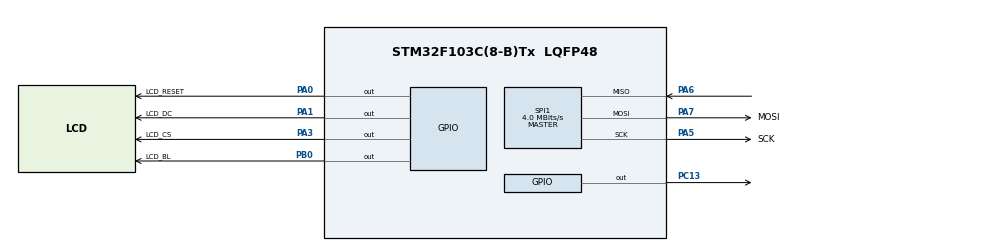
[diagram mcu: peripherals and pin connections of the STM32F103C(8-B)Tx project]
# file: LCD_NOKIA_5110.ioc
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Mcu.Family=STM32F1
Mcu.Name=STM32F103C(8-B)Tx
Mcu.Package=LQFP48
NVIC.PriorityGroup=NVIC_PRIORITYGROUP_4
PA0-WKUP.GPIO_Label=LCD_RESET
PA0-WKUP.Signal=GPIO_Output
PA1.GPIO_Label=LCD_DC
PA1.Signal=GPIO_Output
PA13.Mode=Serial_Wire
PA13.Signal=SYS_JTMS-SWDIO
PA14.Mode=Serial_Wire
PA14.Signal=SYS_JTCK-SWCLK
PA3.GPIO_Label=LCD_CS
PA3.Signal=GPIO_Output
PA5.GPIO_Label=SCK
PA5.Mode=Full_Duplex_Master
PA5.Signal=SPI1_SCK
PA6.Mode=Full_Duplex_Master
PA6.Signal=SPI1_MISO
PA7.GPIO_Label=MOSI
PA7.Mode=Full_Duplex_Master
PA7.Signal=SPI1_MOSI
PB0.GPIO_Label=LCD_BL
PB0.Signal=GPIO_Output
PC13-TAMPER-RTC.Signal=GPIO_Output
ProjectManager.HeapSize=0x200
ProjectManager.StackSize=0x400
ProjectManager.TargetToolchain=STM32CubeIDE
RCC.APB1Freq_Value=8000000
RCC.APB2Freq_Value=8000000
SPI1.BaudRatePrescaler=SPI_BAUDRATEPRESCALER_2
SPI1.CalculateBaudRate=4.0 MBits/s
SPI1.Direction=SPI_DIRECTION_2LINES
SPI1.Mode=SPI_MODE_MASTER
SPI1.VirtualType=VM_MASTER
board=custom

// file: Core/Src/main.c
/* USER CODE BEGIN Header */
/**
  ******************************************************************************
  * @file           : main.c
  * @brief          : Main program body
  ******************************************************************************
  * @attention
  *
  * Copyright (c) 2026 STMicroelectronics.
  * All rights reserved.
  *
  * This software is licensed under terms that can be found in the LICENSE file
  * in the root directory of this software component.
  * If no LICENSE file comes with this software, it is provided AS-IS.
  *
  ******************************************************************************
  */
/* USER CODE END Header */
#include "main.h"

/* USER CODE BEGIN Includes */

#include "lcd_pcd8544.h"

extern LCD_PCD8544_screen_t gLcdScreen;

#include <string.h>

/* USER CODE END Includes */

SPI_HandleTypeDef hspi1;

void SystemClock_Config(void);
static void MX_GPIO_Init(void);
static void MX_SPI1_Init(void);

int main(void)
{

  /* MCU Configuration--------------------------------------------------------*/

  /* Reset of all peripherals, Initializes the Flash interface and the Systick. */
  HAL_Init();

  /* Configure the system clock */
  SystemClock_Config();

  /* Initialize all configured peripherals */
  MX_GPIO_Init();
  MX_SPI1_Init();
  /* USER CODE BEGIN 2 */

  gLcdScreen.mPinout.mSpiHandle = &hspi1;
  gLcdScreen.mPinout.mLcdSpiRstPort = LCD_RESET_GPIO_Port;
  gLcdScreen.mPinout.mLcdSpiRstPin = LCD_RESET_Pin;
  gLcdScreen.mPinout.mLcdSpiCePort = LCD_CS_GPIO_Port;
  gLcdScreen.mPinout.mLcdSpiCePin = LCD_CS_Pin;
  gLcdScreen.mPinout.mLcdSpiDcPort = LCD_DC_GPIO_Port;
  gLcdScreen.mPinout.mLcdSpiDcPin = LCD_DC_Pin;
  gLcdScreen.mPinout.mLcdSpiDinPort = MOSI_GPIO_Port;
  gLcdScreen.mPinout.mLcdSpiDinPin = MOSI_Pin;
  gLcdScreen.mPinout.mLcdSpiClkPort = SCK_GPIO_Port;
  gLcdScreen.mPinout.mLcdSpiClkPin = SCK_Pin;
  gLcdScreen.mPinout.mLcdErrorLedPort = GPIOC;
  gLcdScreen.mPinout.mLcdErrorLedPin = GPIO_PIN_13;

  LCD_PCD8544_init(&gLcdScreen);

  LCD_PCD8544_clear_ram(&gLcdScreen);

  HAL_GPIO_WritePin(LCD_BL_GPIO_Port, LCD_BL_Pin, GPIO_PIN_SET);
  LCD_PCD8544_write_line(&gLcdScreen, 0, "FUNCIONOU");
  LCD_PCD8544_write_line(&gLcdScreen, 2, "GRC NELES!");

  // LCD - welcome screen
//    LCD_PCD8544_write_line(&gLcdScreen, 0, "Hello, world!");
//    HAL_Delay(1000);

  /* USER CODE END 2 */

  /* Infinite loop */
  while (1)
  {

  }
}

void SystemClock_Config(void)
{
  RCC_OscInitTypeDef RCC_OscInitStruct = {0};
  RCC_ClkInitTypeDef RCC_ClkInitStruct = {0};

  /** Initializes the RCC Oscillators according to the specified parameters
  * in the RCC_OscInitTypeDef structure.
  */
  RCC_OscInitStruct.OscillatorType = RCC_OSCILLATORTYPE_HSI;
  RCC_OscInitStruct.HSIState = RCC_HSI_ON;
  RCC_OscInitStruct.HSICalibrationValue = RCC_HSICALIBRATION_DEFAULT;
  RCC_OscInitStruct.PLL.PLLState = RCC_PLL_NONE;
  if (HAL_RCC_OscConfig(&RCC_OscInitStruct) != HAL_OK)
  {
    Error_Handler();
  }

  /** Initializes the CPU, AHB and APB buses clocks
  */
  RCC_ClkInitStruct.ClockType = RCC_CLOCKTYPE_HCLK|RCC_CLOCKTYPE_SYSCLK
                              |RCC_CLOCKTYPE_PCLK1|RCC_CLOCKTYPE_PCLK2;
  RCC_ClkInitStruct.SYSCLKSource = RCC_SYSCLKSOURCE_HSI;
  RCC_ClkInitStruct.AHBCLKDivider = RCC_SYSCLK_DIV1;
  RCC_ClkInitStruct.APB1CLKDivider = RCC_HCLK_DIV1;
  RCC_ClkInitStruct.APB2CLKDivider = RCC_HCLK_DIV1;

  if (HAL_RCC_ClockConfig(&RCC_ClkInitStruct, FLASH_LATENCY_0) != HAL_OK)
  {
    Error_Handler();
  }
}

static void MX_SPI1_Init(void)
{

  /* SPI1 parameter configuration*/
  hspi1.Instance = SPI1;
  hspi1.Init.Mode = SPI_MODE_MASTER;
  hspi1.Init.Direction = SPI_DIRECTION_2LINES;
  hspi1.Init.DataSize = SPI_DATASIZE_8BIT;
  hspi1.Init.CLKPolarity = SPI_POLARITY_LOW;
  hspi1.Init.CLKPhase = SPI_PHASE_1EDGE;
  hspi1.Init.NSS = SPI_NSS_SOFT;
  hspi1.Init.BaudRatePrescaler = SPI_BAUDRATEPRESCALER_8;
  hspi1.Init.FirstBit = SPI_FIRSTBIT_MSB;
  hspi1.Init.TIMode = SPI_TIMODE_DISABLE;
  hspi1.Init.CRCCalculation = SPI_CRCCALCULATION_DISABLE;
  hspi1.Init.CRCPolynomial = 10;
  if (HAL_SPI_Init(&hspi1) != HAL_OK)
  {
    Error_Handler();
  }

}

static void MX_GPIO_Init(void)
{
  GPIO_InitTypeDef GPIO_InitStruct = {0};

  /* GPIO Ports Clock Enable */
  __HAL_RCC_GPIOA_CLK_ENABLE();
  __HAL_RCC_GPIOB_CLK_ENABLE();

  /*Configure GPIO pin Output Level */
  HAL_GPIO_WritePin(GPIOA, LCD_RESET_Pin|LCD_DC_Pin|LCD_CS_Pin, GPIO_PIN_RESET);

  /*Configure GPIO pin Output Level */
  HAL_GPIO_WritePin(LCD_BL_GPIO_Port, LCD_BL_Pin, GPIO_PIN_RESET);

  /*Configure GPIO pins : LCD_RESET_Pin LCD_DC_Pin LCD_CS_Pin */
  GPIO_InitStruct.Pin = LCD_RESET_Pin|LCD_DC_Pin|LCD_CS_Pin;
  GPIO_InitStruct.Mode = GPIO_MODE_OUTPUT_PP;
  GPIO_InitStruct.Pull = GPIO_NOPULL;
  GPIO_InitStruct.Speed = GPIO_SPEED_FREQ_LOW;
  HAL_GPIO_Init(GPIOA, &GPIO_InitStruct);

  /*Configure GPIO pin : LCD_BL_Pin */
  GPIO_InitStruct.Pin = LCD_BL_Pin;
  GPIO_InitStruct.Mode = GPIO_MODE_OUTPUT_PP;
  GPIO_InitStruct.Pull = GPIO_NOPULL;
  GPIO_InitStruct.Speed = GPIO_SPEED_FREQ_LOW;
  HAL_GPIO_Init(LCD_BL_GPIO_Port, &GPIO_InitStruct);

}

void Error_Handler(void)
{
  __disable_irq();
  while (1)
  {
  }
}
